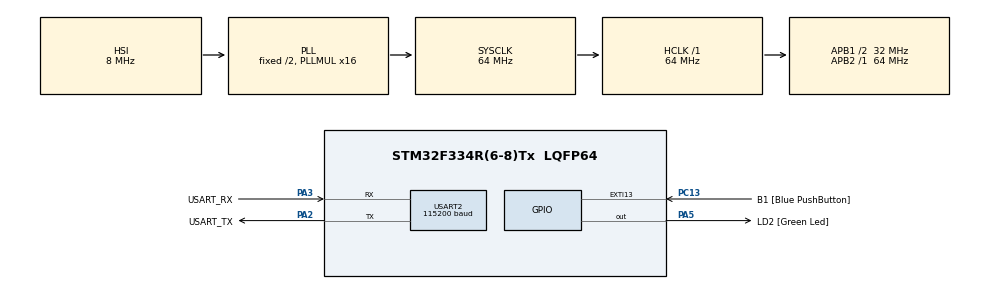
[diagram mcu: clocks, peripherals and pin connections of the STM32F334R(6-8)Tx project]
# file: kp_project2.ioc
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Mcu.Family=STM32F3
Mcu.Name=STM32F334R(6-8)Tx
Mcu.Package=LQFP64
NVIC.EXTI15_10_IRQn=true\:2\:0\:true\:false\:true\:true\:true
NVIC.PriorityGroup=NVIC_PRIORITYGROUP_2
NVIC.TIM1_TRG_COM_TIM17_IRQn=true\:1\:0\:true\:false\:true\:true\:true
NVIC.USART2_IRQn=true\:1\:0\:true\:false\:true\:true\:true
PA13.GPIO_Label=TMS
PA13.Mode=Serial_Wire
PA13.Signal=SYS_JTMS-SWDIO
PA14.GPIO_Label=TCK
PA14.Mode=Serial_Wire
PA14.Signal=SYS_JTCK-SWCLK
PA2.GPIO_Label=USART_TX
PA2.Mode=Asynchronous
PA2.Signal=USART2_TX
PA3.GPIO_Label=USART_RX
PA3.Mode=Asynchronous
PA3.Signal=USART2_RX
PA5.GPIO_Label=LD2 [Green Led]
PA5.Signal=GPIO_Output
PB3.GPIO_Label=SWO
PB3.Signal=SYS_JTDO-TRACESWO
PC13.GPIO_Label=B1 [Blue PushButton]
PC13.GPIO_ModeDefaultEXTI=GPIO_MODE_IT_RISING_FALLING
PC13.Signal=GPXTI13
PC14\ /\ OSC32_IN.Mode=LSE-External-Oscillator
PC14\ /\ OSC32_IN.Signal=RCC_OSC32_IN
PC15\ /\ OSC32_OUT.GPIO_Label=RCC_OSC32_OUT
PC15\ /\ OSC32_OUT.Mode=LSE-External-Oscillator
PC15\ /\ OSC32_OUT.Signal=RCC_OSC32_OUT
PF0\ /\ OSC_IN.Mode=HSE-External-Clock-Source
PF0\ /\ OSC_IN.Signal=RCC_OSC_IN
PF1\ /\ OSC_OUT.Signal=RCC_OSC_OUT
ProjectManager.HeapSize=0x200
ProjectManager.StackSize=0x400
ProjectManager.TargetToolchain=SW4STM32
RCC.AHBFreq_Value=64000000
RCC.APB1CLKDivider=RCC_HCLK_DIV2
RCC.APB1Freq_Value=32000000
RCC.APB1TimFreq_Value=64000000
RCC.APB2Freq_Value=64000000
RCC.APB2TimFreq_Value=64000000
RCC.CortexFreq_Value=64000000
RCC.FLatency-AdvancedSettings=FLASH_LATENCY_2
RCC.HCLKFreq_Value=64000000
RCC.HSE_VALUE=8000000
RCC.HSI_VALUE=8000000
RCC.PLLMUL=RCC_PLL_MUL16
RCC.SYSCLKFreq_VALUE=64000000
RCC.SYSCLKSourceVirtual=RCC_SYSCLKSOURCE_PLLCLK
TIM17.Period=10000 - 1
TIM17.Prescaler=6400 - 1
USART2.BaudRate=115200
USART2.VirtualMode-Asynchronous=VM_ASYNC
VP_TIM17_VS_ClockSourceINT.Mode=Enable_Timer
board=NUCLEO-F334R8

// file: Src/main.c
/* USER CODE BEGIN Header */
/**
  ******************************************************************************
  * @file           : main.c
  * @brief          : Main program body
  ******************************************************************************
  * @attention
  *
  * <h2><center>&copy; Copyright (c) 2019 STMicroelectronics.
  * All rights reserved.</center></h2>
  *
  * This software component is licensed by ST under BSD 3-Clause license,
  * the "License"; You may not use this file except in compliance with the
  * License. You may obtain a copy of the License at:
  *                        opensource.org/licenses/BSD-3-Clause
  *
  ******************************************************************************
  */
/* USER CODE END Header */

#include "main.h"

/* USER CODE BEGIN Includes */
#include "stdio.h"
#include "string.h"
/* USER CODE END Includes */

TIM_HandleTypeDef htim17;

UART_HandleTypeDef huart2;

void SystemClock_Config(void);
static void MX_GPIO_Init(void);
static void MX_USART2_UART_Init(void);
static void MX_TIM17_Init(void);
/* USER CODE BEGIN PFP */

int light_timer = 0;
int light_status = 0;

/* USER CODE END PFP */

int main(void)
{

  /* MCU Configuration--------------------------------------------------------*/

  /* Reset of all peripherals, Initializes the Flash interface and the Systick. */
  HAL_Init();

  /* Configure the system clock */
  SystemClock_Config();

  /* Initialize all configured peripherals */
  MX_GPIO_Init();
  MX_USART2_UART_Init();
  MX_TIM17_Init();
  /* USER CODE BEGIN 2 */
  HAL_TIM_Base_Start_IT(&htim17);
  HAL_UART_Transmit(&huart2, (uint8_t*)"Plytka mowi dzien dobry\r\n", 25, 100);
  /* USER CODE END 2 */

  /* Infinite loop */
  while (1)
  {

  }
}

void SystemClock_Config(void)
{
  RCC_OscInitTypeDef RCC_OscInitStruct = {0};
  RCC_ClkInitTypeDef RCC_ClkInitStruct = {0};

  /** Initializes the CPU, AHB and APB busses clocks
  */
  RCC_OscInitStruct.OscillatorType = RCC_OSCILLATORTYPE_HSI;
  RCC_OscInitStruct.HSIState = RCC_HSI_ON;
  RCC_OscInitStruct.HSICalibrationValue = RCC_HSICALIBRATION_DEFAULT;
  RCC_OscInitStruct.PLL.PLLState = RCC_PLL_ON;
  RCC_OscInitStruct.PLL.PLLSource = RCC_PLLSOURCE_HSI;
  RCC_OscInitStruct.PLL.PLLMUL = RCC_PLL_MUL16;
  if (HAL_RCC_OscConfig(&RCC_OscInitStruct) != HAL_OK)
  {
    Error_Handler();
  }
  /** Initializes the CPU, AHB and APB busses clocks
  */
  RCC_ClkInitStruct.ClockType = RCC_CLOCKTYPE_HCLK|RCC_CLOCKTYPE_SYSCLK
                              |RCC_CLOCKTYPE_PCLK1|RCC_CLOCKTYPE_PCLK2;
  RCC_ClkInitStruct.SYSCLKSource = RCC_SYSCLKSOURCE_PLLCLK;
  RCC_ClkInitStruct.AHBCLKDivider = RCC_SYSCLK_DIV1;
  RCC_ClkInitStruct.APB1CLKDivider = RCC_HCLK_DIV2;
  RCC_ClkInitStruct.APB2CLKDivider = RCC_HCLK_DIV1;

  if (HAL_RCC_ClockConfig(&RCC_ClkInitStruct, FLASH_LATENCY_2) != HAL_OK)
  {
    Error_Handler();
  }
}

static void MX_TIM17_Init(void)
{

  htim17.Instance = TIM17;
  htim17.Init.Prescaler = 6400 - 1;
  htim17.Init.CounterMode = TIM_COUNTERMODE_UP;
  htim17.Init.Period = 10000 - 1;
  htim17.Init.ClockDivision = TIM_CLOCKDIVISION_DIV1;
  htim17.Init.RepetitionCounter = 0;
  htim17.Init.AutoReloadPreload = TIM_AUTORELOAD_PRELOAD_DISABLE;
  if (HAL_TIM_Base_Init(&htim17) != HAL_OK)
  {
    Error_Handler();
  }

}

static void MX_USART2_UART_Init(void)
{

  huart2.Instance = USART2;
  huart2.Init.BaudRate = 115200;
  huart2.Init.WordLength = UART_WORDLENGTH_8B;
  huart2.Init.StopBits = UART_STOPBITS_1;
  huart2.Init.Parity = UART_PARITY_NONE;
  huart2.Init.Mode = UART_MODE_TX_RX;
  huart2.Init.HwFlowCtl = UART_HWCONTROL_NONE;
  huart2.Init.OverSampling = UART_OVERSAMPLING_16;
  huart2.Init.OneBitSampling = UART_ONE_BIT_SAMPLE_DISABLE;
  huart2.AdvancedInit.AdvFeatureInit = UART_ADVFEATURE_NO_INIT;
  if (HAL_UART_Init(&huart2) != HAL_OK)
  {
    Error_Handler();
  }

}

static void MX_GPIO_Init(void)
{
  GPIO_InitTypeDef GPIO_InitStruct = {0};

  /* GPIO Ports Clock Enable */
  __HAL_RCC_GPIOC_CLK_ENABLE();
  __HAL_RCC_GPIOF_CLK_ENABLE();
  __HAL_RCC_GPIOA_CLK_ENABLE();
  __HAL_RCC_GPIOB_CLK_ENABLE();

  /*Configure GPIO pin Output Level */
  HAL_GPIO_WritePin(LD2_GPIO_Port, LD2_Pin, GPIO_PIN_RESET);

  /*Configure GPIO pin : B1_Pin */
  GPIO_InitStruct.Pin = B1_Pin;
  GPIO_InitStruct.Mode = GPIO_MODE_IT_RISING_FALLING;
  GPIO_InitStruct.Pull = GPIO_NOPULL;
  HAL_GPIO_Init(B1_GPIO_Port, &GPIO_InitStruct);

  /*Configure GPIO pin : LD2_Pin */
  GPIO_InitStruct.Pin = LD2_Pin;
  GPIO_InitStruct.Mode = GPIO_MODE_OUTPUT_PP;
  GPIO_InitStruct.Pull = GPIO_NOPULL;
  GPIO_InitStruct.Speed = GPIO_SPEED_FREQ_LOW;
  HAL_GPIO_Init(LD2_GPIO_Port, &GPIO_InitStruct);

  /* EXTI interrupt init*/
  HAL_NVIC_SetPriority(EXTI15_10_IRQn, 2, 0);
  HAL_NVIC_EnableIRQ(EXTI15_10_IRQn);

}

/* USER CODE BEGIN 4 */
void HAL_GPIO_EXTI_Callback(uint16_t GPIO_Pin)
{
	if (GPIO_Pin == GPIO_PIN_13)
	{
		if (HAL_GPIO_ReadPin(B1_GPIO_Port, B1_Pin) == GPIO_PIN_RESET)
		{
		  HAL_UART_Transmit(&huart2, (uint8_t*)"Swiatelko wlacz\r\n", 17, 100);
		  light_status = 1;
		  HAL_GPIO_WritePin(LD2_GPIO_Port, LD2_Pin, 1);

		  /*
		  HAL_UART_Transmit_IT(&huart2, (uint8_t*)"Button Pressed\r\n", 16);
		  */
		}
		else
		{
			HAL_UART_Transmit(&huart2, (uint8_t*)"Swiatelko wylacz\r\n", 18, 100);
			light_status = 0;

			char buff[50];
			sprintf(buff, "Swiatelko swiecilo sie przez : %ld sekund\r\n", light_timer);
			HAL_UART_Transmit(&huart2, (uint8_t*)buff, strlen(buff), 100);

			light_timer = 0;
			HAL_GPIO_WritePin(LD2_GPIO_Port, LD2_Pin, 0);

		}
	}
}

void HAL_TIM_PeriodElapsedCallback(TIM_HandleTypeDef *htim)
{
	if (htim == &htim17)
	{

		if (light_status == 1) {
			  HAL_UART_Transmit(&huart2, (uint8_t*)"Licznik czasu swiatelka ++\r\n", 28, 100);
			  light_timer++;
		}

	}
}
/* USER CODE END 4 */

void Error_Handler(void)
{
}

/************************ (C) COPYRIGHT STMicroelectronics *****END OF FILE****/
